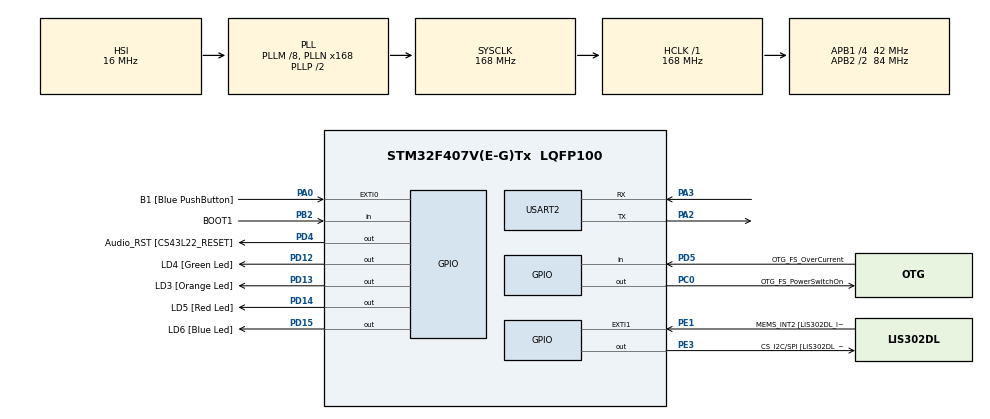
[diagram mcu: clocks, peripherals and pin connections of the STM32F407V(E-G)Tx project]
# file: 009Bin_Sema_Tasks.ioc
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Mcu.Family=STM32F4
Mcu.Name=STM32F407V(E-G)Tx
Mcu.Package=LQFP100
NVIC.PriorityGroup=NVIC_PRIORITYGROUP_4
NVIC.TIM6_DAC_IRQn=true\:0\:0\:false\:false\:true\:false\:true\:true
NVIC.TimeBase=TIM6_DAC_IRQn
NVIC.TimeBaseIP=TIM6
NVIC.USART2_IRQn=true\:0\:0\:false\:false\:true\:true\:true\:true
PA0-WKUP.GPIO_Label=B1 [Blue PushButton]
PA0-WKUP.Signal=GPXTI0
PA10.GPIO_Label=OTG_FS_ID
PA10.GPIO_Mode=GPIO_MODE_AF_PP
PA10.GPIO_PuPd=GPIO_NOPULL
PA10.GPIO_Speed=GPIO_SPEED_FREQ_LOW
PA10.Signal=USB_OTG_FS_ID
PA11.GPIO_Label=OTG_FS_DM
PA11.GPIO_Mode=GPIO_MODE_AF_PP
PA11.GPIO_PuPd=GPIO_NOPULL
PA11.GPIO_Speed=GPIO_SPEED_FREQ_LOW
PA11.Signal=USB_OTG_FS_DM
PA12.GPIO_Label=OTG_FS_DP
PA12.GPIO_Mode=GPIO_MODE_AF_PP
PA12.GPIO_PuPd=GPIO_NOPULL
PA12.GPIO_Speed=GPIO_SPEED_FREQ_LOW
PA12.Signal=USB_OTG_FS_DP
PA13.GPIO_Label=SWDIO
PA13.Signal=SYS_JTMS-SWDIO
PA14.GPIO_Label=SWCLK
PA14.Signal=SYS_JTCK-SWCLK
PA2.Mode=Asynchronous
PA2.Signal=USART2_TX
PA3.Mode=Asynchronous
PA3.Signal=USART2_RX
PA4.GPIO_Label=I2S3_WS [CS43L22_LRCK]
PA4.GPIO_Mode=GPIO_MODE_AF_PP
PA4.GPIO_PuPd=GPIO_NOPULL
PA4.GPIO_Speed=GPIO_SPEED_FREQ_LOW
PA4.Signal=I2S3_WS
PA5.GPIO_Label=SPI1_SCK [LIS302DL_SCL/SPC]
PA5.GPIO_Mode=GPIO_MODE_AF_PP
PA5.GPIO_PuPd=GPIO_NOPULL
PA5.GPIO_Speed=GPIO_SPEED_FREQ_LOW
PA5.Signal=SPI1_SCK
PA6.GPIO_Label=SPI1_MISO [LIS302DL_SDO]
PA6.GPIO_Mode=GPIO_MODE_AF_PP
PA6.GPIO_PuPd=GPIO_NOPULL
PA6.GPIO_Speed=GPIO_SPEED_FREQ_LOW
PA6.Signal=SPI1_MISO
PA7.GPIO_Label=SPI1_MOSI [LIS302DL_SDA/SDI/SDO]
PA7.GPIO_Mode=GPIO_MODE_AF_PP
PA7.GPIO_PuPd=GPIO_NOPULL
PA7.GPIO_Speed=GPIO_SPEED_FREQ_LOW
PA7.Signal=SPI1_MOSI
PA9.GPIO_Label=VBUS_FS
PA9.GPIO_Mode=GPIO_MODE_INPUT
PA9.GPIO_PuPd=GPIO_NOPULL
PA9.Signal=USB_OTG_FS_VBUS
PB10.GPIO_Label=CLK_IN [MP45DT02_CLK]
PB10.GPIO_Mode=GPIO_MODE_AF_PP
PB10.GPIO_PuPd=GPIO_NOPULL
PB10.GPIO_Speed=GPIO_SPEED_FREQ_LOW
PB10.Signal=I2S2_CK
PB2.GPIO_Label=BOOT1
PB2.GPIO_Mode=GPIO_MODE_INPUT
PB2.GPIO_PuPd=GPIO_NOPULL
PB2.Signal=GPIO_Input
PB3.GPIO_Label=SWO
PB3.Signal=SYS_JTDO-SWO
PB6.GPIO_Label=Audio_SCL [CS43L22_SCL]
PB6.GPIO_Mode=GPIO_MODE_AF_OD
PB6.GPIO_PuPd=GPIO_NOPULL
PB6.GPIO_Speed=GPIO_SPEED_FREQ_LOW
PB6.Signal=I2C1_SCL
PB9.GPIO_Label=Audio_SDA [CS43L22_SDA]
PB9.GPIO_Mode=GPIO_MODE_AF_OD
PB9.GPIO_PuPd=GPIO_NOPULL
PB9.GPIO_Speed=GPIO_SPEED_FREQ_LOW
PB9.Signal=I2C1_SDA
PC0.GPIO_Label=OTG_FS_PowerSwitchOn
PC0.GPIO_PuPd=GPIO_NOPULL
PC0.GPIO_Speed=GPIO_SPEED_FREQ_LOW
PC0.PinState=GPIO_PIN_SET
PC0.Signal=GPIO_Output
PC10.GPIO_Label=I2S3_SCK [CS43L22_SCLK]
PC10.GPIO_Mode=GPIO_MODE_AF_PP
PC10.GPIO_PuPd=GPIO_NOPULL
PC10.GPIO_Speed=GPIO_SPEED_FREQ_LOW
PC10.Signal=I2S3_CK
PC12.GPIO_Label=I2S3_SD [CS43L22_SDIN]
PC12.GPIO_Mode=GPIO_MODE_AF_PP
PC12.GPIO_PuPd=GPIO_NOPULL
PC12.GPIO_Speed=GPIO_SPEED_FREQ_LOW
PC12.Signal=I2S3_SD
PC14-OSC32_IN.GPIO_Label=PC14-OSC32_IN
PC14-OSC32_IN.Signal=RCC_OSC32_IN
PC15-OSC32_OUT.GPIO_Label=PC15-OSC32_OUT
PC15-OSC32_OUT.Signal=RCC_OSC32_OUT
PC3.GPIO_Label=PDM_OUT [MP45DT02_DOUT]
PC3.GPIO_Mode=GPIO_MODE_AF_PP
PC3.GPIO_PuPd=GPIO_NOPULL
PC3.GPIO_Speed=GPIO_SPEED_FREQ_LOW
PC3.Signal=I2S2_SD
PC7.GPIO_Label=I2S3_MCK [CS43L22_MCLK]
PC7.GPIO_Mode=GPIO_MODE_AF_PP
PC7.GPIO_PuPd=GPIO_NOPULL
PC7.GPIO_Speed=GPIO_SPEED_FREQ_LOW
PC7.Signal=I2S3_MCK
PD12.GPIO_Label=LD4 [Green Led]
PD12.GPIO_PuPd=GPIO_NOPULL
PD12.GPIO_Speed=GPIO_SPEED_FREQ_LOW
PD12.Signal=GPIO_Output
PD13.GPIO_Label=LD3 [Orange Led]
PD13.GPIO_PuPd=GPIO_NOPULL
PD13.GPIO_Speed=GPIO_SPEED_FREQ_LOW
PD13.Signal=GPIO_Output
PD14.GPIO_Label=LD5 [Red Led]
PD14.GPIO_PuPd=GPIO_NOPULL
PD14.GPIO_Speed=GPIO_SPEED_FREQ_LOW
PD14.Signal=GPIO_Output
PD15.GPIO_Label=LD6 [Blue Led]
PD15.GPIO_PuPd=GPIO_NOPULL
PD15.GPIO_Speed=GPIO_SPEED_FREQ_LOW
PD15.Signal=GPIO_Output
PD4.GPIO_Label=Audio_RST [CS43L22_RESET]
PD4.GPIO_PuPd=GPIO_NOPULL
PD4.GPIO_Speed=GPIO_SPEED_FREQ_LOW
PD4.Signal=GPIO_Output
PD5.GPIO_Label=OTG_FS_OverCurrent
PD5.GPIO_Mode=GPIO_MODE_INPUT
PD5.GPIO_PuPd=GPIO_NOPULL
PD5.Signal=GPIO_Input
PE1.GPIO_Label=MEMS_INT2 [LIS302DL_INT2]
PE1.GPIO_ModeDefaultEXTI=GPIO_MODE_EVT_RISING
PE1.GPIO_PuPd=GPIO_NOPULL
PE1.Signal=GPXTI1
PE3.GPIO_Label=CS_I2C/SPI [LIS302DL_CS_I2C/SPI]
PE3.GPIO_PuPd=GPIO_NOPULL
PE3.GPIO_Speed=GPIO_SPEED_FREQ_LOW
PE3.Signal=GPIO_Output
PH0-OSC_IN.GPIO_Label=PH0-OSC_IN
PH0-OSC_IN.Signal=RCC_OSC_IN
PH1-OSC_OUT.GPIO_Label=PH1-OSC_OUT
PH1-OSC_OUT.Signal=RCC_OSC_OUT
ProjectManager.HeapSize=0x200
ProjectManager.StackSize=0x400
ProjectManager.TargetToolchain=STM32CubeIDE
RCC.48MHZClocksFreq_Value=48000000
RCC.AHBFreq_Value=168000000
RCC.APB1CLKDivider=RCC_HCLK_DIV4
RCC.APB1Freq_Value=42000000
RCC.APB1TimFreq_Value=84000000
RCC.APB2CLKDivider=RCC_HCLK_DIV2
RCC.APB2Freq_Value=84000000
RCC.APB2TimFreq_Value=168000000
RCC.CortexFreq_Value=168000000
RCC.HCLKFreq_Value=168000000
RCC.HSE_VALUE=8000000
RCC.HSI_VALUE=16000000
RCC.LSE_VALUE=32768
RCC.PLLM=8
RCC.PLLN=168
RCC.PLLQ=7
RCC.SYSCLKFreq_VALUE=168000000
RCC.SYSCLKSource=RCC_SYSCLKSOURCE_PLLCLK
RCC.VCOOutputFreq_Value=336000000
USART2.VirtualMode=VM_ASYNC
VP_SYS_VS_tim6.Mode=TIM6
board=STM32F407G-DISC1

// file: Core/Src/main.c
/* USER CODE BEGIN Header */
/**
  ******************************************************************************
  * @file           : main.c
  * @brief          : Main program body
  ******************************************************************************
  * @attention
  *
  * Copyright (c) 2025 STMicroelectronics.
  * All rights reserved.
  *
  * This software is licensed under terms that can be found in the LICENSE file
  * in the root directory of this software component.
  * If no LICENSE file comes with this software, it is provided AS-IS.
  *
  ******************************************************************************
  */
/* USER CODE END Header */
#include "main.h"

/* USER CODE BEGIN Includes */
#include <stdio.h>
#include <stdlib.h>
#include <string.h>

#include "FreeRTOS.h"
#include "task.h"
#include "semphr.h"
#include "queue.h"
/* USER CODE END Includes */

/* USER CODE BEGIN PM */
char usr_msg[250] = {0};

TaskHandle_t xTaskHandleE;
TaskHandle_t xTaskHandleM;

//function prototypes

void printmsg(char *msg);

/* The tasks to be created. */
static void vManagerTask( void *pvParameters );
static void vEmployeeTask( void *pvParameters );

/* Declare a variable of type xSemaphoreHandle.  This is used to reference the
semaphore that is used to synchronize both manager and employee task */
xSemaphoreHandle xWork;

/* this is the queue which manager uses to put the work ticket id */
xQueueHandle xWorkQueue;
/* USER CODE END PM */

UART_HandleTypeDef huart2;

/* USER CODE BEGIN PV */
#define DWT_CTRL    (*(volatile uint32_t*)0xE0001000)
/* USER CODE END PV */

void SystemClock_Config(void);
static void MX_GPIO_Init(void);
static void MX_USART2_UART_Init(void);

int main(void)
{

  /* USER CODE BEGIN 1 */
	DWT->CTRL |= (1 << 0);//Enable CYCCNT in DWT_CTRL.
  /* USER CODE END 1 */
	BaseType_t status;
  /* MCU Configuration--------------------------------------------------------*/

  /* Reset of all peripherals, Initializes the Flash interface and the Systick. */
  HAL_Init();

  /* Configure the system clock */
  SystemClock_Config();

  /* Initialize all configured peripherals */
  MX_GPIO_Init();
  MX_USART2_UART_Init();
	sprintf(usr_msg,"Demo of Binary semaphore usage between 2 Tasks \r\n");
	printmsg(usr_msg);

    /* Before a semaphore is used it must be explicitly created.
     * In this example a binary semaphore is created . */
    vSemaphoreCreateBinary( xWork );

	/* The queue is created to hold a maximum of 1 Element. */
    xWorkQueue = xQueueCreate( 1, sizeof( unsigned int ) );

    /* Check the semaphore and queue was created successfully. */
    if( (xWork != NULL) && (xWorkQueue != NULL) )
    {

		/* Create the 'Manager' task.  This is the task that will be synchronized with the Employee task.  The Manager task is created with a high priority  */
        status = xTaskCreate( vManagerTask, "Manager", 500, NULL, 3, &xTaskHandleM );

        configASSERT(status != pdPASS);

        /* Create a employee task with less priority than manager */
        status = xTaskCreate( vEmployeeTask, "Employee", 500, NULL, 1, &xTaskHandleE );

        configASSERT(status != pdPASS);

        /* Start the scheduler so the created tasks start executing. */
        vTaskStartScheduler();
    }

    sprintf(usr_msg,"Queue/Sema create failed.. \r\n");
    printmsg(usr_msg);
  /* Infinite loop */
  while (1)
  {

  }
}

void SystemClock_Config(void)
{
  RCC_OscInitTypeDef RCC_OscInitStruct = {0};
  RCC_ClkInitTypeDef RCC_ClkInitStruct = {0};

  /** Configure the main internal regulator output voltage
  */
  __HAL_RCC_PWR_CLK_ENABLE();
  __HAL_PWR_VOLTAGESCALING_CONFIG(PWR_REGULATOR_VOLTAGE_SCALE1);

  /** Initializes the RCC Oscillators according to the specified parameters
  * in the RCC_OscInitTypeDef structure.
  */
  RCC_OscInitStruct.OscillatorType = RCC_OSCILLATORTYPE_HSI;
  RCC_OscInitStruct.HSIState = RCC_HSI_ON;
  RCC_OscInitStruct.HSICalibrationValue = RCC_HSICALIBRATION_DEFAULT;
  RCC_OscInitStruct.PLL.PLLState = RCC_PLL_ON;
  RCC_OscInitStruct.PLL.PLLSource = RCC_PLLSOURCE_HSI;
  RCC_OscInitStruct.PLL.PLLM = 8;
  RCC_OscInitStruct.PLL.PLLN = 168;
  RCC_OscInitStruct.PLL.PLLP = RCC_PLLP_DIV2;
  RCC_OscInitStruct.PLL.PLLQ = 7;
  if (HAL_RCC_OscConfig(&RCC_OscInitStruct) != HAL_OK)
  {
    Error_Handler();
  }

  /** Initializes the CPU, AHB and APB buses clocks
  */
  RCC_ClkInitStruct.ClockType = RCC_CLOCKTYPE_HCLK|RCC_CLOCKTYPE_SYSCLK
                              |RCC_CLOCKTYPE_PCLK1|RCC_CLOCKTYPE_PCLK2;
  RCC_ClkInitStruct.SYSCLKSource = RCC_SYSCLKSOURCE_PLLCLK;
  RCC_ClkInitStruct.AHBCLKDivider = RCC_SYSCLK_DIV1;
  RCC_ClkInitStruct.APB1CLKDivider = RCC_HCLK_DIV4;
  RCC_ClkInitStruct.APB2CLKDivider = RCC_HCLK_DIV2;

  if (HAL_RCC_ClockConfig(&RCC_ClkInitStruct, FLASH_LATENCY_5) != HAL_OK)
  {
    Error_Handler();
  }
}

static void MX_USART2_UART_Init(void)
{

  huart2.Instance = USART2;
  huart2.Init.BaudRate = 115200;
  huart2.Init.WordLength = UART_WORDLENGTH_8B;
  huart2.Init.StopBits = UART_STOPBITS_1;
  huart2.Init.Parity = UART_PARITY_NONE;
  huart2.Init.Mode = UART_MODE_TX_RX;
  huart2.Init.HwFlowCtl = UART_HWCONTROL_NONE;
  huart2.Init.OverSampling = UART_OVERSAMPLING_16;
  if (HAL_UART_Init(&huart2) != HAL_OK)
  {
    Error_Handler();
  }

}

static void MX_GPIO_Init(void)
{
  GPIO_InitTypeDef GPIO_InitStruct = {0};

  /* GPIO Ports Clock Enable */
  __HAL_RCC_GPIOE_CLK_ENABLE();
  __HAL_RCC_GPIOC_CLK_ENABLE();
  __HAL_RCC_GPIOH_CLK_ENABLE();
  __HAL_RCC_GPIOA_CLK_ENABLE();
  __HAL_RCC_GPIOB_CLK_ENABLE();
  __HAL_RCC_GPIOD_CLK_ENABLE();

  /*Configure GPIO pin Output Level */
  HAL_GPIO_WritePin(CS_I2C_SPI_GPIO_Port, CS_I2C_SPI_Pin, GPIO_PIN_RESET);

  /*Configure GPIO pin Output Level */
  HAL_GPIO_WritePin(OTG_FS_PowerSwitchOn_GPIO_Port, OTG_FS_PowerSwitchOn_Pin, GPIO_PIN_SET);

  /*Configure GPIO pin Output Level */
  HAL_GPIO_WritePin(GPIOD, LD4_Pin|LD3_Pin|LD5_Pin|LD6_Pin
                          |Audio_RST_Pin, GPIO_PIN_RESET);

  /*Configure GPIO pin : CS_I2C_SPI_Pin */
  GPIO_InitStruct.Pin = CS_I2C_SPI_Pin;
  GPIO_InitStruct.Mode = GPIO_MODE_OUTPUT_PP;
  GPIO_InitStruct.Pull = GPIO_NOPULL;
  GPIO_InitStruct.Speed = GPIO_SPEED_FREQ_LOW;
  HAL_GPIO_Init(CS_I2C_SPI_GPIO_Port, &GPIO_InitStruct);

  /*Configure GPIO pin : OTG_FS_PowerSwitchOn_Pin */
  GPIO_InitStruct.Pin = OTG_FS_PowerSwitchOn_Pin;
  GPIO_InitStruct.Mode = GPIO_MODE_OUTPUT_PP;
  GPIO_InitStruct.Pull = GPIO_NOPULL;
  GPIO_InitStruct.Speed = GPIO_SPEED_FREQ_LOW;
  HAL_GPIO_Init(OTG_FS_PowerSwitchOn_GPIO_Port, &GPIO_InitStruct);

  /*Configure GPIO pin : PDM_OUT_Pin */
  GPIO_InitStruct.Pin = PDM_OUT_Pin;
  GPIO_InitStruct.Mode = GPIO_MODE_AF_PP;
  GPIO_InitStruct.Pull = GPIO_NOPULL;
  GPIO_InitStruct.Speed = GPIO_SPEED_FREQ_LOW;
  GPIO_InitStruct.Alternate = GPIO_AF5_SPI2;
  HAL_GPIO_Init(PDM_OUT_GPIO_Port, &GPIO_InitStruct);

  /*Configure GPIO pin : B1_Pin */
  GPIO_InitStruct.Pin = B1_Pin;
  GPIO_InitStruct.Mode = GPIO_MODE_IT_RISING;
  GPIO_InitStruct.Pull = GPIO_NOPULL;
  HAL_GPIO_Init(B1_GPIO_Port, &GPIO_InitStruct);

  /*Configure GPIO pin : I2S3_WS_Pin */
  GPIO_InitStruct.Pin = I2S3_WS_Pin;
  GPIO_InitStruct.Mode = GPIO_MODE_AF_PP;
  GPIO_InitStruct.Pull = GPIO_NOPULL;
  GPIO_InitStruct.Speed = GPIO_SPEED_FREQ_LOW;
  GPIO_InitStruct.Alternate = GPIO_AF6_SPI3;
  HAL_GPIO_Init(I2S3_WS_GPIO_Port, &GPIO_InitStruct);

  /*Configure GPIO pins : SPI1_SCK_Pin SPI1_MISO_Pin SPI1_MOSI_Pin */
  GPIO_InitStruct.Pin = SPI1_SCK_Pin|SPI1_MISO_Pin|SPI1_MOSI_Pin;
  GPIO_InitStruct.Mode = GPIO_MODE_AF_PP;
  GPIO_InitStruct.Pull = GPIO_NOPULL;
  GPIO_InitStruct.Speed = GPIO_SPEED_FREQ_LOW;
  GPIO_InitStruct.Alternate = GPIO_AF5_SPI1;
  HAL_GPIO_Init(GPIOA, &GPIO_InitStruct);

  /*Configure GPIO pin : BOOT1_Pin */
  GPIO_InitStruct.Pin = BOOT1_Pin;
  GPIO_InitStruct.Mode = GPIO_MODE_INPUT;
  GPIO_InitStruct.Pull = GPIO_NOPULL;
  HAL_GPIO_Init(BOOT1_GPIO_Port, &GPIO_InitStruct);

  /*Configure GPIO pin : CLK_IN_Pin */
  GPIO_InitStruct.Pin = CLK_IN_Pin;
  GPIO_InitStruct.Mode = GPIO_MODE_AF_PP;
  GPIO_InitStruct.Pull = GPIO_NOPULL;
  GPIO_InitStruct.Speed = GPIO_SPEED_FREQ_LOW;
  GPIO_InitStruct.Alternate = GPIO_AF5_SPI2;
  HAL_GPIO_Init(CLK_IN_GPIO_Port, &GPIO_InitStruct);

  /*Configure GPIO pins : LD4_Pin LD3_Pin LD5_Pin LD6_Pin
                           Audio_RST_Pin */
  GPIO_InitStruct.Pin = LD4_Pin|LD3_Pin|LD5_Pin|LD6_Pin
                          |Audio_RST_Pin;
  GPIO_InitStruct.Mode = GPIO_MODE_OUTPUT_PP;
  GPIO_InitStruct.Pull = GPIO_NOPULL;
  GPIO_InitStruct.Speed = GPIO_SPEED_FREQ_LOW;
  HAL_GPIO_Init(GPIOD, &GPIO_InitStruct);

  /*Configure GPIO pins : I2S3_MCK_Pin I2S3_SCK_Pin I2S3_SD_Pin */
  GPIO_InitStruct.Pin = I2S3_MCK_Pin|I2S3_SCK_Pin|I2S3_SD_Pin;
  GPIO_InitStruct.Mode = GPIO_MODE_AF_PP;
  GPIO_InitStruct.Pull = GPIO_NOPULL;
  GPIO_InitStruct.Speed = GPIO_SPEED_FREQ_LOW;
  GPIO_InitStruct.Alternate = GPIO_AF6_SPI3;
  HAL_GPIO_Init(GPIOC, &GPIO_InitStruct);

  /*Configure GPIO pin : VBUS_FS_Pin */
  GPIO_InitStruct.Pin = VBUS_FS_Pin;
  GPIO_InitStruct.Mode = GPIO_MODE_INPUT;
  GPIO_InitStruct.Pull = GPIO_NOPULL;
  HAL_GPIO_Init(VBUS_FS_GPIO_Port, &GPIO_InitStruct);

  /*Configure GPIO pins : OTG_FS_ID_Pin OTG_FS_DM_Pin OTG_FS_DP_Pin */
  GPIO_InitStruct.Pin = OTG_FS_ID_Pin|OTG_FS_DM_Pin|OTG_FS_DP_Pin;
  GPIO_InitStruct.Mode = GPIO_MODE_AF_PP;
  GPIO_InitStruct.Pull = GPIO_NOPULL;
  GPIO_InitStruct.Speed = GPIO_SPEED_FREQ_LOW;
  GPIO_InitStruct.Alternate = GPIO_AF10_OTG_FS;
  HAL_GPIO_Init(GPIOA, &GPIO_InitStruct);

  /*Configure GPIO pin : OTG_FS_OverCurrent_Pin */
  GPIO_InitStruct.Pin = OTG_FS_OverCurrent_Pin;
  GPIO_InitStruct.Mode = GPIO_MODE_INPUT;
  GPIO_InitStruct.Pull = GPIO_NOPULL;
  HAL_GPIO_Init(OTG_FS_OverCurrent_GPIO_Port, &GPIO_InitStruct);

  /*Configure GPIO pins : Audio_SCL_Pin Audio_SDA_Pin */
  GPIO_InitStruct.Pin = Audio_SCL_Pin|Audio_SDA_Pin;
  GPIO_InitStruct.Mode = GPIO_MODE_AF_OD;
  GPIO_InitStruct.Pull = GPIO_NOPULL;
  GPIO_InitStruct.Speed = GPIO_SPEED_FREQ_LOW;
  GPIO_InitStruct.Alternate = GPIO_AF4_I2C1;
  HAL_GPIO_Init(GPIOB, &GPIO_InitStruct);

  /*Configure GPIO pin : MEMS_INT2_Pin */
  GPIO_InitStruct.Pin = MEMS_INT2_Pin;
  GPIO_InitStruct.Mode = GPIO_MODE_EVT_RISING;
  GPIO_InitStruct.Pull = GPIO_NOPULL;
  HAL_GPIO_Init(MEMS_INT2_GPIO_Port, &GPIO_InitStruct);

}

/* USER CODE BEGIN 4 */
void vManagerTask( void *pvParameters )
{
	 unsigned int xWorkTicketId;
	 portBASE_TYPE xStatus;

   /* The semaphore is created in the 'empty' state, meaning the semaphore must
	 first be given using the xSemaphoreGive() API function before it
	 can subsequently be taken (obtained) */
   xSemaphoreGive( xWork);

   for( ;; )
   {
       /* get a work ticket id(some random number) */
       xWorkTicketId = ( rand() & 0x1FF );

		/* Sends work ticket id to the work queue */
		xStatus = xQueueSend( xWorkQueue, &xWorkTicketId , portMAX_DELAY ); //Post an item on back of the queue

		if( xStatus != pdPASS )
		{
			sprintf(usr_msg,"Could not send to the queue.\r\n");
		    printmsg(usr_msg);

		}else
		{
			/* Manager notifying the employee by "Giving" semaphore */
			xSemaphoreGive( xWork);
			/* after assigning the work , just yield the processor because nothing to do */
			taskYIELD();

		}
   }
}
/*-----------------------------------------------------------*/

void EmployeeDoWork(unsigned char TicketId)
{
	/* implement the work according to TickedID */
	sprintf(usr_msg,"Employee task : Working on Ticked id : %d\r\n",TicketId);
	printmsg(usr_msg);
	vTaskDelay(TicketId);
}

static void vEmployeeTask( void *pvParameters )
{

	unsigned char xWorkTicketId;
	portBASE_TYPE xStatus;
   /* As per most tasks, this task is implemented within an infinite loop. */
   for( ;; )
   {
		/* First Employee tries to take the semaphore, if it is available that means there is a task assigned by manager, otherwise employee task will be blocked */
		xSemaphoreTake( xWork, 0 );

		/* get the ticket id from the work queue */
		xStatus = xQueueReceive( xWorkQueue, &xWorkTicketId, 0 );

		if( xStatus == pdPASS )
		{
		  /* employee may decode the xWorkTicketId in this function to do the work*/
			EmployeeDoWork(xWorkTicketId);
		}
		else
		{
			/* We did not receive anything from the queue.  This must be an error as this task should only run when the manager assigns at least one work. */
			sprintf(usr_msg,"Employee task : Queue is empty , nothing to do.\r\n");
		    printmsg(usr_msg);
		}
   }
}

void printmsg(char *msg)
{
	HAL_UART_Transmit(&huart2, (uint8_t*)msg, strlen(msg), HAL_MAX_DELAY);
}

/* USER CODE END 4 */

void HAL_TIM_PeriodElapsedCallback(TIM_HandleTypeDef *htim)
{
  if (htim->Instance == TIM6)
  {
    HAL_IncTick();
  }
}

void Error_Handler(void)
{
  __disable_irq();
  while (1)
  {
  }
}
